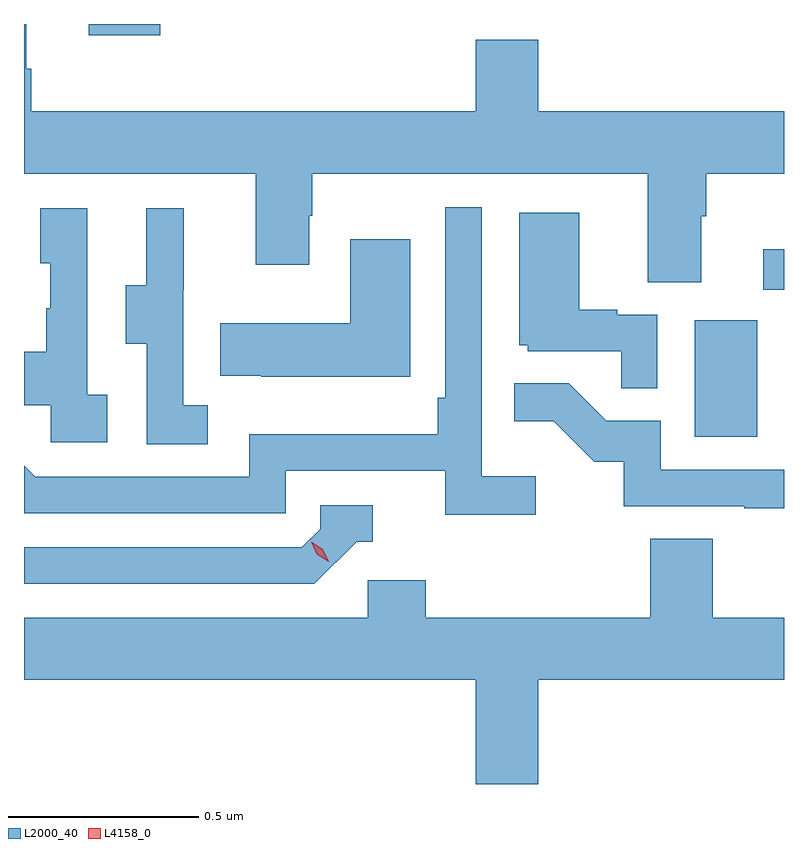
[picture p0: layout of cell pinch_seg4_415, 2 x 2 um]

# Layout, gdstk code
import gdstk
lib = gdstk.Library(unit=1e-6, precision=1e-09)
def R(c, l, rs):  # rectangles x0, y0, x1, y1
    for r in rs: c.add(gdstk.rectangle(r[:2], r[2:], *l))
def P(c, l, *ps):  # polygons
    for p in ps: c.add(gdstk.Polygon(p, *l))
L2000_40 = (2000, 40)
L4158_0 = (4158, 0)

pinch_seg4_415 = lib.new_cell('pinch_seg4_415')
R(pinch_seg4_415, L2000_40, [(1016.732,781.476,1016.896,781.783), (1016.913,781.863,1016.967,781.969), (1015.137,782.532,1015.325,782.562)])
P(pinch_seg4_415, L2000_40, [(1014.967,782.562),(1014.967,782.168),(1015.577,782.168),(1015.577,781.929),(1015.717,781.929),(1015.717,782.057),(1015.725,782.057),(1015.725,782.168),(1016.609,782.168),(1016.609,781.882),(1016.749,781.882),(1016.749,782.056),(1016.762,782.056),(1016.762,782.168),(1016.967,782.168),(1016.967,782.332),(1016.32,782.332),(1016.32,782.521),(1016.156,782.521),(1016.156,782.332),(1014.986,782.332),(1014.986,782.444),(1014.973,782.444),(1014.973,782.562)],
  [(1016.314,781.372),(1016.172,781.372),(1016.172,782.08),(1016.076,782.08),(1016.076,781.579),(1016.056,781.579),(1016.056,781.483),(1015.56,781.483),(1015.56,781.371),(1014.996,781.371),(1014.967,781.4),(1014.967,781.275),(1015.656,781.275),(1015.656,781.386),(1016.075,781.386),(1016.075,781.27),(1016.314,781.27)],
  [(1015.186,781.586),(1015.134,781.586),(1015.134,782.077),(1015.01,782.077),(1015.01,781.932),(1015.036,781.932),(1015.036,781.814),(1015.026,781.814),(1015.026,781.699),(1014.967,781.699),(1014.967,781.559),(1015.038,781.559),(1015.038,781.461),(1015.186,781.461)],
  [(1015.45,781.559),(1015.386,781.559),(1015.386,781.863),(1015.388,781.863),(1015.388,782.077),(1015.289,782.077),(1015.289,781.875),(1015.235,781.875),(1015.235,781.72),(1015.29,781.72),(1015.29,781.456),(1015.45,781.456)],
  [(1016.634,781.797),(1016.528,781.797),(1016.528,781.81),(1016.428,781.81),(1016.428,782.065),(1016.27,782.065),(1016.27,781.716),(1016.292,781.716),(1016.292,781.701),(1016.539,781.701),(1016.539,781.603),(1016.634,781.603)],
  [(1015.984,781.996),(1015.826,781.996),(1015.826,781.774),(1015.483,781.774),(1015.483,781.637),(1015.591,781.637),(1015.591,781.634),(1015.984,781.634)],
  [(1016.967,781.389),(1016.643,781.389),(1016.643,781.518),(1016.499,781.518),(1016.401,781.616),(1016.257,781.616),(1016.257,781.517),(1016.361,781.517),(1016.468,781.41),(1016.545,781.41),(1016.545,781.293),(1016.863,781.293),(1016.863,781.288),(1016.967,781.288)],
  [(1015.842,781.2),(1015.885,781.2),(1015.885,781.296),(1015.746,781.296),(1015.746,781.233),(1015.698,781.185),(1014.967,781.185),(1014.967,781.089),(1015.731,781.089)],
  [(1016.32,780.836),(1016.967,780.836),(1016.967,781),(1016.78,781),(1016.78,781.208),(1016.615,781.208),(1016.615,781),(1016.024,781),(1016.024,781.098),(1015.872,781.098),(1015.872,781),(1014.967,781),(1014.967,780.836),(1016.156,780.836),(1016.156,780.562),(1016.32,780.562)])
P(pinch_seg4_415, L4158_0, [(1015.769,781.147),(1015.738,781.167),(1015.723,781.2),(1015.723,781.2),(1015.723,781.2),(1015.753,781.18),(1015.769,781.147),(1015.769,781.147)])

lib.write_gds('pinch_seg4_415.gds')
